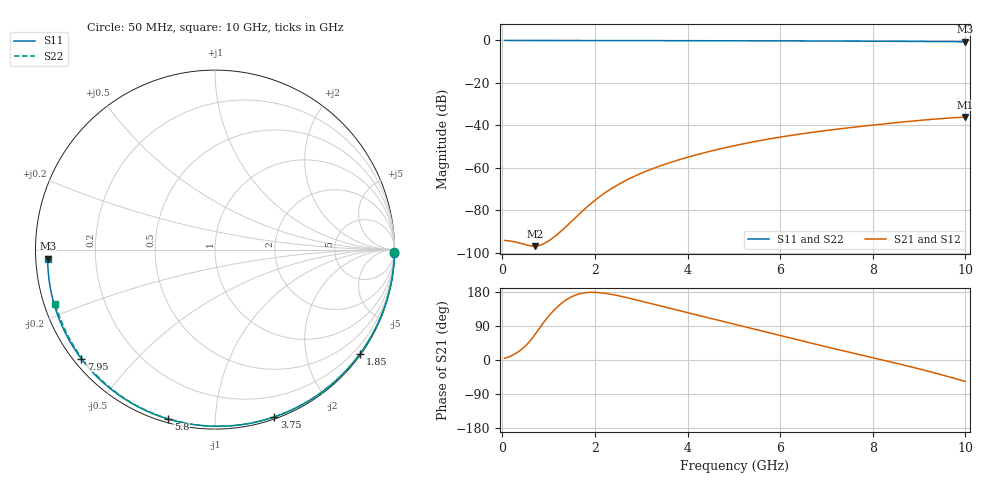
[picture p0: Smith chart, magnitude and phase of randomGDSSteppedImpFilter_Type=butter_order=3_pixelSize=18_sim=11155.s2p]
! freq	dB(S11)	phase(S11)	dB(S12)	phase(S12)
!  dB(S21)	phase(S21)	dB(S22)	phase(S22)
!S-par simulation data
#  GHz  S  DB  R 50
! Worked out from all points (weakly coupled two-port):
!   200 points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, 50 MHz to 10 GHz, reference 50 ohm
!   highest |S21| = -36.09 dB at 10 GHz (marker M1); lowest = -96.9 dB at 700 MHz (marker M2)
!   lowest |S11| = -0.6 dB at 10 GHz (marker M3), VSWR 29.18, Z = 1.71 - j1.33 ohm
!   |S11| at or under -10 dB: nowhere
!   |S22| runs from -0.5 to 0.0 dB; largest |S21 - S12| = 0
!   S11 on the Smith chart (normalised r, x): 50 MHz: open; 1.85 GHz: 0.03, -3.10; 3.75 GHz: 0.02, -1.42; 5.8 GHz: 0.02, -0.76; 7.95 GHz: 0.02, -0.36; 10 GHz: 0.03, -0.03
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0.05  -0.00 -1.0  -94.20 4.7  -94.20 4.7  -0.00 -0.9
0.7  -0.01 -13.7  -96.89 66.2  -96.89 66.2  -0.01 -12.8
1.2  -0.03 -23.4  -91.12 141.3  -91.12 141.3  -0.03 -21.8
1.75  -0.04 -33.8  -79.97 176.8  -79.97 176.8  -0.04 -31.6
1.85  -0.05 -35.7  -78.03 178.2  -78.03 178.2  -0.04 -33.4
2  -0.05 -38.6  -75.30 178.5  -75.30 178.5  -0.05 -36.0
2.2  -0.05 -42.3  -72.05 176.3  -72.05 176.3  -0.05 -39.5
2.55  -0.06 -48.8  -67.30 168.4  -67.30 168.4  -0.06 -45.6
2.95  -0.07 -56.1  -63.01 156.9  -63.01 156.9  -0.07 -52.4
3.4  -0.09 -64.2  -59.16 143.2  -59.16 143.2  -0.08 -60.0
3.75  -0.10 -70.5  -56.64 132.5  -56.64 132.5  -0.09 -65.8
4.4  -0.12 -81.8  -52.67 112.9  -52.67 112.9  -0.11 -76.4
5.05  -0.14 -92.9  -49.38 93.2  -49.38 93.2  -0.13 -86.7
5.8  -0.18 -105.4  -46.24 70.4  -46.24 70.4  -0.17 -98.3
6.25  -0.21 -112.8  -44.66 56.8  -44.66 56.8  -0.19 -105.1
6.7  -0.24 -120.2  -43.25 43.4  -43.25 43.4  -0.22 -111.9
7.3  -0.28 -130.0  -41.59 26.0  -41.59 26.0  -0.26 -120.8
7.95  -0.34 -140.8  -39.98 7.5  -39.98 7.5  -0.32 -130.5
8.35  -0.38 -147.5  -39.06 -4.0  -39.06 -4.0  -0.35 -136.4
9.2  -0.48 -162.2  -37.28 -29.8  -37.28 -29.8  -0.44 -149.1
9.6  -0.54 -169.5  -36.60 -42.9  -36.60 -42.9  -0.49 -155.1
10  -0.60 -176.9  -36.09 -56.6  -36.09 -56.6  -0.54 -161.2
